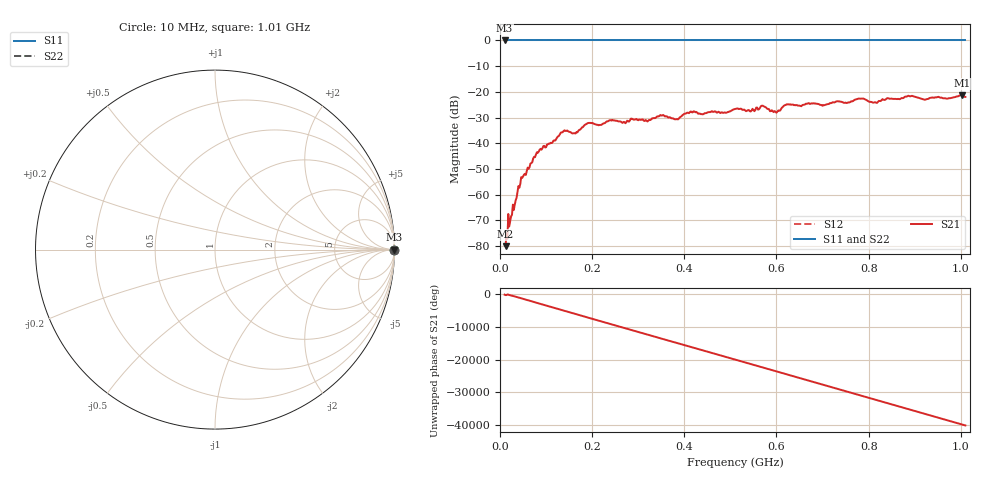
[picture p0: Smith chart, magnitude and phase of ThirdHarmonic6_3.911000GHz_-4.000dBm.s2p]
! 8/17/2025 1:46:41 PM
! C:\ANRITSUVNA\TEMP\TEMP.S2P
! CHANNEL.1
! TR.MEASUREMENT
! RAW.DATA
! RF.CORRECTION.OFF
! AVERAGING.OFF
! IF.BANDWIDTH: 5KHZ
! SWEEPTYPE:  FREQ.SWEEP(Linear)
! Reference Plane Port Info
! PORT:  PORT1  PORT2
! DISTANCE:  0  m  0  m
! TIME:  0  s  0  s
! PHASE.OFFSET:  0  deg.  0  deg.
! LOSS:  0  dB  0  dB
! REF.LOSS:  0  dB  0  dB
! REF.FREQ:  0  Hz  0  Hz
! Power Info
! POWER:  -20  dBm  -20  dBm
! EFF.POWER:  -20  dBm  -20  dBm
! SOURCE.ATTEN:  0  dB  0  dB
! TEST.ATTEN:  0  dB  0  dB
# GHZ S RI R 50.0
! FREQ.GHZ  S11RE  S11IM  S21RE  S21IM  S12RE  S12IM  S22RE  S22IM
!; PortSelection: Port_12
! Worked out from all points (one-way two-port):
!   501 points, 10 MHz to 1.01 GHz, reference 50 ohm
!   highest |S21| = -21.31 dB at 1.002 GHz (marker M1); lowest = -80.1 dB at 12 MHz (marker M2)
!   lowest |S11| = 0.0 dB at 10 MHz (marker M3)
!   |S11| at or under -10 dB: nowhere
!   |S22| runs from 0.0 to 0.0 dB; largest |S21 - S12| = 1.1
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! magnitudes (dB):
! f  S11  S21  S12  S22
! 10 MHz  0.0  -79.6  0.0  0.0
! 12 MHz  0.0  -80.1  0.0  0.0
! 22 MHz  0.0  -70.5  0.0  0.0
! 44 MHz  0.0  -55.9  0.0  0.0
! 76 MHz  0.0  -45.4  0.0  0.0
! 136 MHz  0.0  -35.7  0.0  0.0
! 160 MHz  0.0  -36.1  0.0  0.0
! 178 MHz  0.0  -33.9  0.0  0.0
! 194 MHz  0.0  -32.1  0.0  0.0
! 318 MHz  0.0  -31.2  0.0  0.0
! 344 MHz  0.0  -29.6  0.0  0.0
! 382 MHz  0.0  -30.7  0.0  0.0
! 416 MHz  0.0  -27.9  0.0  0.0
! 510 MHz  0.0  -26.7  0.0  0.0
! 542 MHz  0.0  -27.5  0.0  0.0
! 570 MHz  0.0  -25.4  0.0  0.0
! 598 MHz  0.0  -27.8  0.0  0.0
! 622 MHz  0.0  -24.9  0.0  0.0
! 678 MHz  0.0  -24.6  0.0  0.0
! 844 MHz  0.0  -22.6  0.0  0.0
! 1.002 GHz  0.0  -21.3  0.0  0.0
! 1.01 GHz  0.0  -22.0  0.0  0.0
